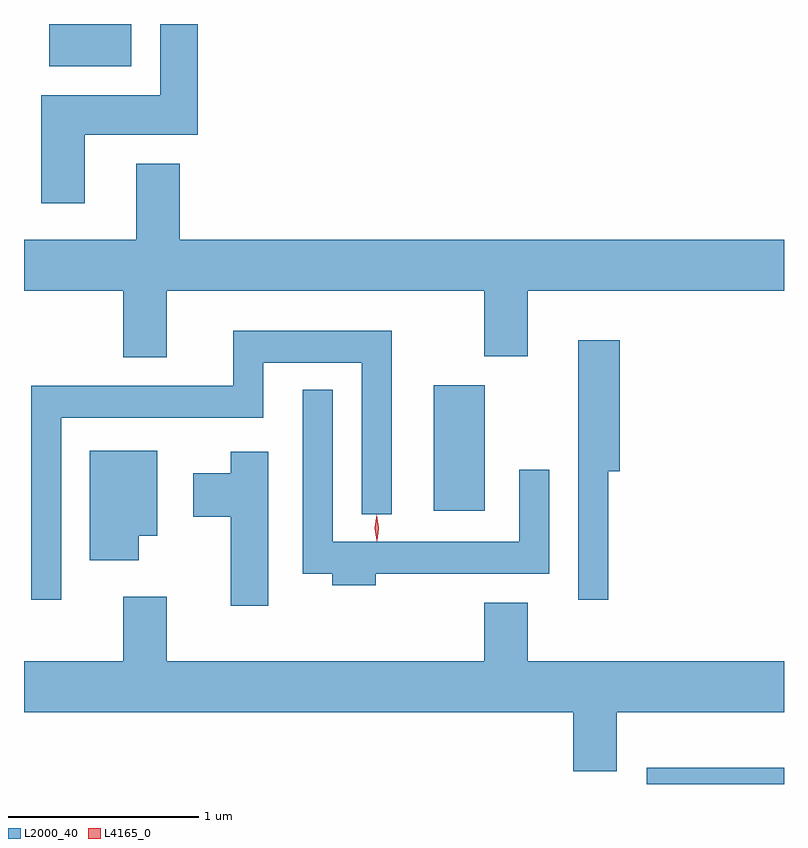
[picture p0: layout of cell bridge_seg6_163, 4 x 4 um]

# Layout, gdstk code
import gdstk
lib = gdstk.Library(unit=1e-6, precision=1e-09)
def R(c, l, rs):  # rectangles x0, y0, x1, y1
    for r in rs: c.add(gdstk.rectangle(r[:2], r[2:], *l))
def P(c, l, *ps):  # polygons
    for p in ps: c.add(gdstk.Polygon(p, *l))
L2000_40 = (2000, 40)
L4165_0 = (4165, 0)

bridge_seg6_163 = lib.new_cell('bridge_seg6_163')
R(bridge_seg6_163, L2000_40, [(1120.286,1574.079,1121.009,1574.164), (1119.166,1575.516,1119.434,1576.179), (1117.141,1577.856,1117.574,1578.079)])
P(bridge_seg6_163, L2000_40, [(1117.329,1577.496),(1117.924,1577.496),(1117.924,1578.079),(1117.726,1578.079),(1117.726,1577.704),(1117.101,1577.704),(1117.101,1577.136),(1117.329,1577.136)],
  [(1117.759,1576.676),(1119.431,1576.676),(1119.431,1576.331),(1119.659,1576.331),(1119.659,1576.676),(1121.009,1576.676),(1121.009,1576.944),(1117.829,1576.944),(1117.829,1577.344),(1117.601,1577.344),(1117.601,1576.944),(1117.009,1576.944),(1117.009,1576.676),(1117.531,1576.676),(1117.531,1576.326),(1117.759,1576.326)],
  [(1117.204,1576.006),(1118.269,1576.006),(1118.269,1576.296),(1118.786,1576.296),(1118.786,1575.498),(1118.944,1575.498),(1118.944,1576.464),(1118.111,1576.464),(1118.111,1576.174),(1117.046,1576.174),(1117.046,1575.048),(1117.204,1575.048)],
  [(1120.084,1575.726),(1120.144,1575.726),(1120.144,1576.414),(1119.926,1576.414),(1119.926,1575.048),(1120.084,1575.048)],
  [(1118.859,1575.186),(1119.774,1575.186),(1119.774,1575.733),(1119.616,1575.733),(1119.616,1575.354),(1118.634,1575.354),(1118.634,1576.153),(1118.476,1576.153),(1118.476,1575.186),(1118.631,1575.186),(1118.631,1575.126),(1118.859,1575.126)],
  [(1117.614,1575.386),(1117.709,1575.386),(1117.709,1575.834),(1117.356,1575.834),(1117.356,1575.256),(1117.614,1575.256)],
  [(1118.294,1575.829),(1118.096,1575.829),(1118.096,1575.714),(1117.901,1575.714),(1117.901,1575.486),(1118.096,1575.486),(1118.096,1575.016),(1118.294,1575.016)],
  [(1120.129,1574.456),(1121.009,1574.456),(1121.009,1574.724),(1119.659,1574.724),(1119.659,1575.034),(1119.431,1575.034),(1119.431,1574.724),(1117.759,1574.724),(1117.759,1575.064),(1117.531,1575.064),(1117.531,1574.724),(1117.009,1574.724),(1117.009,1574.456),(1119.901,1574.456),(1119.901,1574.146),(1120.129,1574.146)])
P(bridge_seg6_163, L4165_0, [(1118.866,1575.359),(1118.866,1575.36),(1118.856,1575.426),(1118.866,1575.492),(1118.866,1575.493),(1118.866,1575.492),(1118.876,1575.426),(1118.867,1575.36)],
  [(1118.866,1575.357),(1118.865,1575.358),(1118.856,1575.427),(1118.865,1575.496),(1118.866,1575.496),(1118.866,1575.496),(1118.876,1575.427),(1118.866,1575.358)])

lib.write_gds('bridge_seg6_163.gds')
